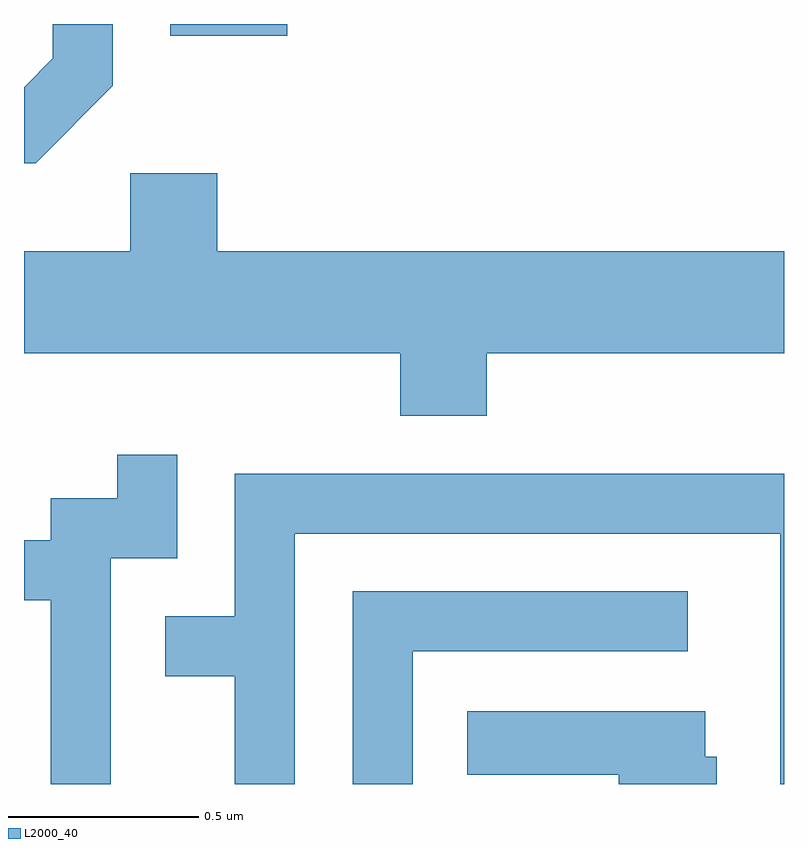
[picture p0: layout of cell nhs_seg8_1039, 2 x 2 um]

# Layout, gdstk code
import gdstk
lib = gdstk.Library(unit=1e-6, precision=1e-09)
def R(c, l, rs):  # rectangles x0, y0, x1, y1
    for r in rs: c.add(gdstk.rectangle(r[:2], r[2:], *l))
def P(c, l, *ps):  # polygons
    for p in ps: c.add(gdstk.Polygon(p, *l))
L2000_40 = (2000, 40)

nhs_seg8_1039 = lib.new_cell('nhs_seg8_1039')
R(nhs_seg8_1039, L2000_40, [(192.996,1888.311,193.304,1888.342)])
P(nhs_seg8_1039, L2000_40, [(192.844,1888.179),(192.844,1888.342),(192.686,1888.342),(192.686,1888.252),(192.611,1888.176),(192.611,1887.976),(192.642,1887.976)],
  [(193.829,1887.476),(194.611,1887.476),(194.611,1887.744),(193.119,1887.744),(193.119,1887.949),(192.891,1887.949),(192.891,1887.744),(192.611,1887.744),(192.611,1887.476),(193.601,1887.476),(193.601,1887.311),(193.829,1887.311)],
  [(192.839,1886.936),(193.014,1886.936),(193.014,1887.208),(192.856,1887.208),(192.856,1887.094),(192.681,1887.094),(192.681,1886.984),(192.611,1886.984),(192.611,1886.826),(192.681,1886.826),(192.681,1886.342),(192.839,1886.342)],
  [(193.324,1887.001),(194.601,1887.001),(194.601,1886.342),(194.611,1886.342),(194.611,1887.159),(193.166,1887.159),(193.166,1886.784),(192.983,1886.784),(192.983,1886.626),(193.166,1886.626),(193.166,1886.342),(193.324,1886.342)],
  [(193.634,1886.691),(194.358,1886.691),(194.358,1886.849),(193.476,1886.849),(193.476,1886.342),(193.634,1886.342)],
  [(194.434,1886.414),(194.404,1886.414),(194.404,1886.534),(193.778,1886.534),(193.778,1886.366),(194.176,1886.366),(194.176,1886.342),(194.434,1886.342)])

lib.write_gds('nhs_seg8_1039.gds')
